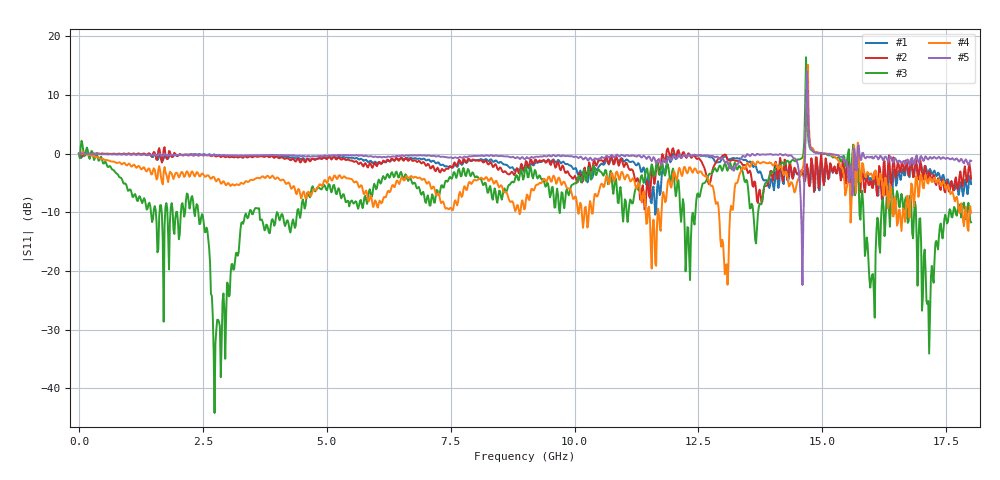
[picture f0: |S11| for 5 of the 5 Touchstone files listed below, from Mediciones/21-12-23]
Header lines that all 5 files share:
!Keysight Technologies N9917A: A.12.46
!TimeZone: (UTC-03:00) Buenos Aires!Model: N9917A
!Serial: MY56072049
!GPS Latitude:
!GPS Longitude:
!GPS TimeStamp: 0001-01-01 00:00:00Z
!GPS Seconds Since Last Read: 0
!Correction: S11(ON U)
!S1P File: Measurement: S11:
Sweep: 30 kHz to 18 GHz
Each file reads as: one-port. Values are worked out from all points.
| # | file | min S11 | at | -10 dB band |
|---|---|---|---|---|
| 1 | AbsN.s1p | -10.4 dB | 11.63 GHz | 13.08 MHz wide |
| 2 | AcetonaN.s1p | -9.5 dB | 11.41 GHz | - |
| 3 | Corto.s1p | -44.2 dB | 2.736 GHz | 1.032 GHz wide |
| 4 | GlicerinaN.s1p | -22.4 dB | 13.09 GHz | 227 MHz wide |
| 5 | ResinaN.s1p | -22.4 dB | 14.6 GHz | 49.9 MHz wide |
